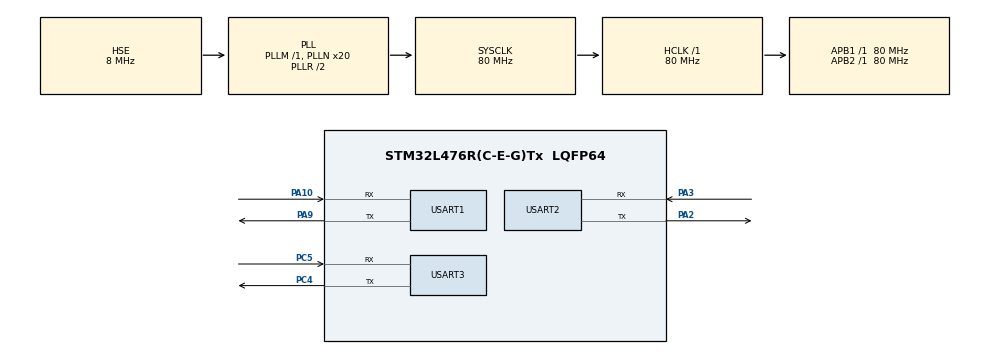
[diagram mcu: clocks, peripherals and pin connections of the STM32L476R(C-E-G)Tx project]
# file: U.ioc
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Dma.Request0=USART1_RX
Dma.Request1=USART2_RX
Dma.USART1_RX.0.Direction=DMA_PERIPH_TO_MEMORY
Dma.USART1_RX.0.Instance=DMA1_Channel5
Dma.USART1_RX.0.MemDataAlignment=DMA_MDATAALIGN_BYTE
Dma.USART1_RX.0.MemInc=DMA_MINC_ENABLE
Dma.USART1_RX.0.Mode=DMA_NORMAL
Dma.USART1_RX.0.PeriphDataAlignment=DMA_PDATAALIGN_BYTE
Dma.USART1_RX.0.PeriphInc=DMA_PINC_DISABLE
Dma.USART1_RX.0.Priority=DMA_PRIORITY_MEDIUM
Dma.USART2_RX.1.Direction=DMA_PERIPH_TO_MEMORY
Dma.USART2_RX.1.Instance=DMA1_Channel6
Dma.USART2_RX.1.MemDataAlignment=DMA_MDATAALIGN_BYTE
Dma.USART2_RX.1.MemInc=DMA_MINC_ENABLE
Dma.USART2_RX.1.Mode=DMA_NORMAL
Dma.USART2_RX.1.PeriphDataAlignment=DMA_PDATAALIGN_BYTE
Dma.USART2_RX.1.PeriphInc=DMA_PINC_DISABLE
Dma.USART2_RX.1.Priority=DMA_PRIORITY_MEDIUM
Mcu.Family=STM32L4
Mcu.Name=STM32L476R(C-E-G)Tx
Mcu.Package=LQFP64
NVIC.DMA1_Channel5_IRQn=true\:1\:0\:true\:false\:true\:false\:true\:true
NVIC.DMA1_Channel6_IRQn=true\:1\:0\:true\:false\:true\:false\:true\:true
NVIC.PriorityGroup=NVIC_PRIORITYGROUP_4
NVIC.TIM2_IRQn=true\:2\:0\:true\:false\:true\:true\:true\:true
NVIC.USART1_IRQn=true\:0\:0\:false\:false\:true\:true\:true\:true
NVIC.USART2_IRQn=true\:0\:0\:false\:false\:true\:true\:true\:true
NVIC.USART3_IRQn=true\:0\:0\:false\:false\:true\:true\:true\:true
PA10.Mode=Asynchronous
PA10.Signal=USART1_RX
PA2.Mode=Asynchronous
PA2.Signal=USART2_TX
PA3.Mode=Asynchronous
PA3.Signal=USART2_RX
PA9.Mode=Asynchronous
PA9.Signal=USART1_TX
PC4.Mode=Asynchronous
PC4.Signal=USART3_TX
PC5.Mode=Asynchronous
PC5.Signal=USART3_RX
PH0-OSC_IN\ (PH0).Mode=HSE-External-Oscillator
PH0-OSC_IN\ (PH0).Signal=RCC_OSC_IN
PH1-OSC_OUT\ (PH1).Mode=HSE-External-Oscillator
PH1-OSC_OUT\ (PH1).Signal=RCC_OSC_OUT
ProjectManager.HeapSize=0x1000
ProjectManager.StackSize=0x2000
ProjectManager.TargetToolchain=STM32CubeIDE
RCC.ADCFreq_Value=32000000
RCC.AHBFreq_Value=80000000
RCC.APB1Freq_Value=80000000
RCC.APB1TimFreq_Value=80000000
RCC.APB2Freq_Value=80000000
RCC.APB2TimFreq_Value=80000000
RCC.CortexFreq_Value=80000000
RCC.EnbaleCSS=true
RCC.HCLKFreq_Value=80000000
RCC.HSE_VALUE=8000000
RCC.HSI_VALUE=16000000
RCC.LSE_VALUE=32768
RCC.MSI_VALUE=4000000
RCC.PLLN=20
RCC.PLLSourceVirtual=RCC_PLLSOURCE_HSE
RCC.SYSCLKFreq_VALUE=80000000
RCC.SYSCLKSource=RCC_SYSCLKSOURCE_PLLCLK
RCC.USBFreq_Value=32000000
RCC.VCOOutputFreq_Value=160000000
TIM2.Period=10000-1
TIM2.Prescaler=8000-1
USART1.VirtualMode-Asynchronous=VM_ASYNC
USART2.VirtualMode-Asynchronous=VM_ASYNC
USART3.VirtualMode-Asynchronous=VM_ASYNC
VP_TIM2_VS_ClockSourceINT.Mode=Internal
board=custom

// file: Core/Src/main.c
/* USER CODE BEGIN Header */
/**
  ******************************************************************************
  * @file           : main.c
  * @brief          : Main program body
  ******************************************************************************
  * @attention
  *
  * Copyright (c) 2026 STMicroelectronics.
  * All rights reserved.
  *
  * This software is licensed under terms that can be found in the LICENSE file
  * in the root directory of this software component.
  * If no LICENSE file comes with this software, it is provided AS-IS.
  *
  ******************************************************************************
  */
/* USER CODE END Header */
#include "main.h"
#include "dma.h"
#include "tim.h"
#include "usart.h"
#include "gpio.h"

/* USER CODE BEGIN Includes */
#include <stdio.h>
#include <string.h>
#include "rtklib_app.h"
#include "rtklib_port.h"
/* USER CODE END Includes */

/* USER CODE BEGIN PD */
/*
 * Live SPP（默认）：USART1 = F9P UBX RAWX；USART3 = PC 侧 RTCM（NTRIP/1019 等）→ 仅合并星历/数据，解算为单点 $PRTK 经纬度。
 * PC 端广播星历：仓库根目录 brdc1250.26n（tools 脚本 --rinex 指向该文件或你换新的 *26n / *MN.rnx）。
 * RINEX 回放：仅在编译选项中加 MCU_REPLAY_RTCM_OBS=1，并断开 F9P USART1；见 tools/replay_rtcm_to_mcu.py。
 */
/* USER CODE END PD */
/*
 * Default route:
 * - USART1 = F9P UBX (RAWX + SFRBX + NAV-PVT) -> pure single-link SPP.
 * - USART3 = debug text output by default, not required for SPP.
 * - Enable USART3 RTCM only when MCU_USE_USART3_RTCM=1 or replay/RTK build is desired.
 */

/* USER CODE BEGIN PV */
static uint32_t s_main_hb_ms = 0u;
static volatile uint32_t s_uart1_hb_pulse_count;
static uint32_t s_uart1_hb_pulse_seen;

/* USER CODE END PV */

void SystemClock_Config(void);

int main(void)
{

  /* MCU Configuration--------------------------------------------------------*/

  /* Reset of all peripherals, Initializes the Flash interface and the Systick. */
  HAL_Init();

  /* Configure the system clock */
  SystemClock_Config();

  /* Initialize all configured peripherals */
  MX_GPIO_Init();
  MX_User_LED_Init();
  MX_DMA_Init();
  /* USART2 before USART1: ST-Link COM works even if USART1/DMA init fails */
  MX_USART2_UART_Init();
  {
    static const char k_early[] = "\r\n$BOOT,EARLY_USART2\r\n";
    rtklib_port_uart2_send((const uint8_t *)k_early, (uint16_t)(sizeof(k_early) - 1u));
  }
  MX_USART1_UART_Init();
  MX_USART3_UART_Init();
  MX_TIM2_Init();
  /* USER CODE BEGIN 2 */
  /* $BOOT via debug_send → USART3 + USART2 mirror (ST-Link COM at 115200 for SSCOM). */
  {
    static const char k_boot[] = "\r\n$BOOT,MCU_OK\r\n";
    const uint16_t blen = (uint16_t)(sizeof(k_boot) - 1u);
    rtklib_port_debug_send((const uint8_t *)k_boot, blen);
  }
  /* Init rtklib / raw+rtcm before RX IRQ: init_raw uses ~700 B stack; nested USART ISR + flood risks overflow */
  rtklib_init();
  rtklib_uart_start_rx_it();
#if MCU_REPLAY_RTCM_OBS
  /* 回放模式：观测来自 USART3 RTCM，勿对 F9P 发 CFG（USART1 应断开或静默） */
#else
  /* F9P：默认 115200；rx1 长期无字节时会尝试 38400 链路训练再回到 115200 */
  rtklib_rover_ubx_link_train(115200u);
#endif
  /* Independent of main-loop positioning work: periodic ISR proves MCU alive + UART TX path */
  (void)HAL_TIM_Base_Start_IT(&htim2);

  /* USER CODE END 2 */

  /* Infinite loop */
  while (1)
  {

    /* USER CODE BEGIN 3 */
    rtklib_process();
    /*
     * $HB (USART1 or USART3 per rtklib_app.h / rtklib_port_debug_send) — TIM2 ISR counts pulses only.
     * (HAL_UART_Transmit from ISR + $PRTKMON interleaved bytes on the wire.)
     */
    while (s_uart1_hb_pulse_seen != s_uart1_hb_pulse_count) {
      char buf[112];
      int n;

      s_uart1_hb_pulse_seen++;
      n = snprintf(buf, sizeof(buf),
                   "$HB,t=%lu,r1=%lu,u=%lu,dbg=%s,rtcm=%d\r\n",
                   (unsigned long)HAL_GetTick(),
                   (unsigned long)rtklib_serial_get_rx1_total(),
                   (unsigned long)rtklib_serial_get_ubx_sync_total(),
#if RTK_DEBUG_PORT_UART1
                   "U1",
#else
                   "U3+U2",
#endif
                   MCU_USE_USART3_RTCM);
      if (n > 0 && n < (int)sizeof(buf)) {
        rtklib_port_debug_send((const uint8_t *)buf, (uint16_t)n);
      }
    }
    /*
     * LD2: always 1 Hz toggle = main loop alive.
     * (Old logic kept LD2 solid ON when basN>0 — looks like "fault" and hides hangs.)
     * Base RTCM status: use $PRTKMON basN / rtklib_get_base_obs_ready().
     */
    if ((HAL_GetTick() - s_main_hb_ms) >= 1000u) {
      s_main_hb_ms = HAL_GetTick();
      HAL_GPIO_TogglePin(LD2_GPIO_Port, LD2_Pin);
    }
  }
  /* USER CODE END 3 */
}

void SystemClock_Config(void)
{
  RCC_OscInitTypeDef RCC_OscInitStruct = {0};
  RCC_ClkInitTypeDef RCC_ClkInitStruct = {0};
  uint32_t pll_ok_hse = 1u;

  /** Configure the main internal regulator output voltage
  */
  if (HAL_PWREx_ControlVoltageScaling(PWR_REGULATOR_VOLTAGE_SCALE1) != HAL_OK)
  {
    Error_Handler();
  }

  /*
   * Nucleo-L476RG: 8 MHz HSE + PLL -> 80 MHz.
   * Custom boards without crystal: HAL_RCC_OscConfig(HSE) fails — fall back to HSI16 + PLL (still 80 MHz SYSCLK).
   */
  RCC_OscInitStruct.OscillatorType = RCC_OSCILLATORTYPE_HSE;
  RCC_OscInitStruct.HSEState = RCC_HSE_ON;
  RCC_OscInitStruct.PLL.PLLState = RCC_PLL_ON;
  RCC_OscInitStruct.PLL.PLLSource = RCC_PLLSOURCE_HSE;
  RCC_OscInitStruct.PLL.PLLM = 1;
  RCC_OscInitStruct.PLL.PLLN = 20;
  RCC_OscInitStruct.PLL.PLLP = RCC_PLLP_DIV7;
  RCC_OscInitStruct.PLL.PLLQ = RCC_PLLQ_DIV2;
  RCC_OscInitStruct.PLL.PLLR = RCC_PLLR_DIV2;
  if (HAL_RCC_OscConfig(&RCC_OscInitStruct) != HAL_OK)
  {
    pll_ok_hse = 0u;
    RCC_OscInitStruct.OscillatorType = RCC_OSCILLATORTYPE_HSI;
    RCC_OscInitStruct.HSEState = RCC_HSE_OFF;
    RCC_OscInitStruct.HSIState = RCC_HSI_ON;
    RCC_OscInitStruct.HSICalibrationValue = RCC_HSICALIBRATION_DEFAULT;
    RCC_OscInitStruct.PLL.PLLState = RCC_PLL_ON;
    RCC_OscInitStruct.PLL.PLLSource = RCC_PLLSOURCE_HSI;
    RCC_OscInitStruct.PLL.PLLM = 1;
    RCC_OscInitStruct.PLL.PLLN = 10;
    RCC_OscInitStruct.PLL.PLLP = RCC_PLLP_DIV7;
    RCC_OscInitStruct.PLL.PLLQ = RCC_PLLQ_DIV2;
    RCC_OscInitStruct.PLL.PLLR = RCC_PLLR_DIV2;
    if (HAL_RCC_OscConfig(&RCC_OscInitStruct) != HAL_OK)
    {
      Error_Handler();
    }
  }

  /** Initializes the CPU, AHB and APB buses clocks
  */
  RCC_ClkInitStruct.ClockType = RCC_CLOCKTYPE_HCLK|RCC_CLOCKTYPE_SYSCLK
                              |RCC_CLOCKTYPE_PCLK1|RCC_CLOCKTYPE_PCLK2;
  RCC_ClkInitStruct.SYSCLKSource = RCC_SYSCLKSOURCE_PLLCLK;
  RCC_ClkInitStruct.AHBCLKDivider = RCC_SYSCLK_DIV1;
  RCC_ClkInitStruct.APB1CLKDivider = RCC_HCLK_DIV1;
  RCC_ClkInitStruct.APB2CLKDivider = RCC_HCLK_DIV1;

  if (HAL_RCC_ClockConfig(&RCC_ClkInitStruct, FLASH_LATENCY_4) != HAL_OK)
  {
    Error_Handler();
  }

  if (pll_ok_hse != 0u)
  {
    HAL_RCC_EnableCSS();
  }
}

/* USER CODE BEGIN 4 */

void HAL_TIM_PeriodElapsedCallback(TIM_HandleTypeDef *htim)
{
  if (htim->Instance != TIM2) {
    return;
  }
  /* UART TX happens in main loop — ISR must stay minimal */
  s_uart1_hb_pulse_count++;
}

/* USER CODE END 4 */

void Error_Handler(void)
{
  /* USER CODE BEGIN Error_Handler_Debug */
  volatile uint32_t i;
  __disable_irq();
  while (1)
  {
    HAL_GPIO_TogglePin(LD2_GPIO_Port, LD2_Pin);
    for (i = 0; i < 300000u; i++) {
      __NOP();
    }
  }
  /* USER CODE END Error_Handler_Debug */
}
